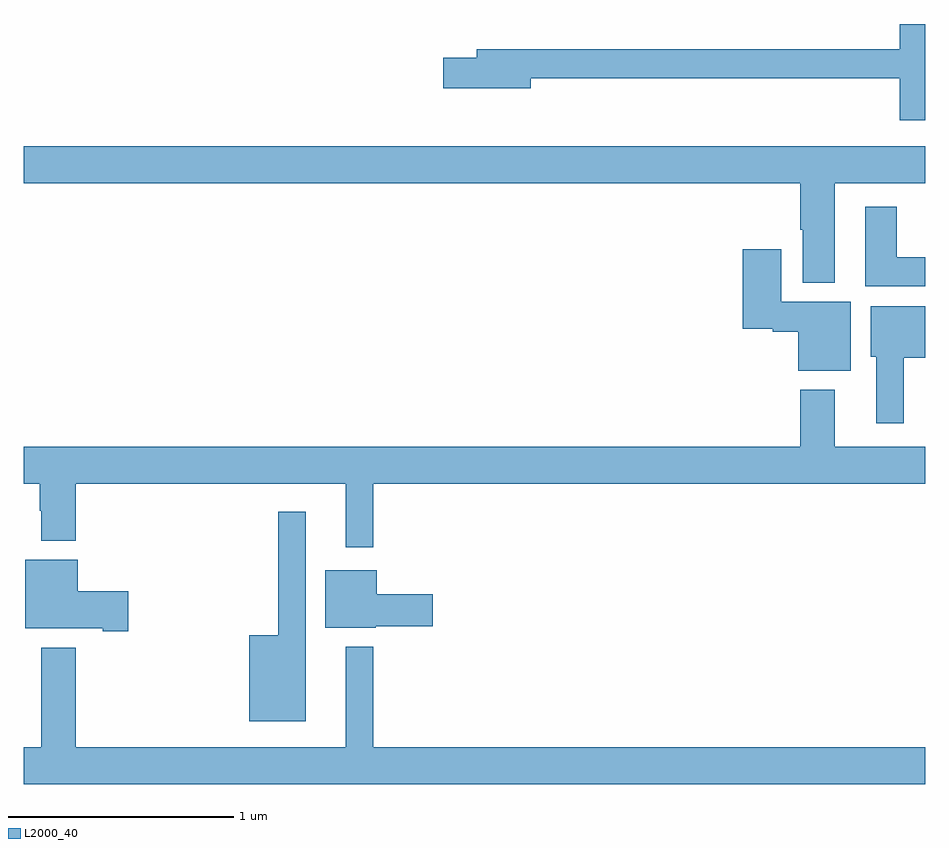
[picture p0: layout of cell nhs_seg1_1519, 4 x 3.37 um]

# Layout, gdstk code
import gdstk
lib = gdstk.Library(unit=1e-6, precision=1e-09)
def P(c, l, *ps):  # polygons
    for p in ps: c.add(gdstk.Polygon(p, *l))
L2000_40 = (2000, 40)

nhs_seg1_1519 = lib.new_cell('nhs_seg1_1519')
P(nhs_seg1_1519, L2000_40, [(197,565.759),(196.886,565.759),(196.886,565.646),(195.011,565.646),(195.011,565.61),(194.862,565.61),(194.862,565.475),(195.25,565.475),(195.25,565.518),(196.886,565.518),(196.886,565.331),(197,565.331)],
  [(193,565.052),(196.445,565.052),(196.445,564.847),(196.457,564.847),(196.457,564.611),(196.597,564.611),(196.597,565.052),(197,565.052),(197,565.216),(193,565.216)],
  [(197,564.724),(196.873,564.724),(196.873,564.949),(196.733,564.949),(196.733,564.596),(197,564.596)],
  [(196.669,564.526),(196.36,564.526),(196.36,564.76),(196.19,564.76),(196.19,564.407),(196.323,564.407),(196.323,564.395),(196.436,564.395),(196.436,564.221),(196.669,564.221)],
  [(196.903,564.278),(197,564.278),(197,564.508),(196.757,564.508),(196.757,564.282),(196.781,564.282),(196.781,563.988),(196.903,563.988)],
  [(194.551,563.72),(197,563.72),(197,563.884),(196.597,563.884),(196.597,564.136),(196.445,564.136),(196.445,563.884),(193,563.884),(193,563.72),(193.072,563.72),(193.072,563.6),(193.079,563.6),(193.079,563.468),(193.232,563.468),(193.232,563.72),(194.429,563.72),(194.429,563.439),(194.551,563.439)],
  [(194.251,563.596),(194.13,563.596),(194.13,563.047),(194,563.047),(194,562.667),(194.251,562.667)],
  [(193.465,563.244),(193.24,563.244),(193.24,563.383),(193.007,563.383),(193.007,563.078),(193.352,563.078),(193.352,563.066),(193.465,563.066)],
  [(194.562,563.087),(194.815,563.087),(194.815,563.229),(194.566,563.229),(194.566,563.335),(194.339,563.335),(194.339,563.081),(194.562,563.081)],
  [(197,562.552),(194.551,562.552),(194.551,562.996),(194.429,562.996),(194.429,562.552),(193.232,562.552),(193.232,562.993),(193.079,562.993),(193.079,562.552),(193,562.552),(193,562.388),(197,562.388)])

lib.write_gds('nhs_seg1_1519.gds')
